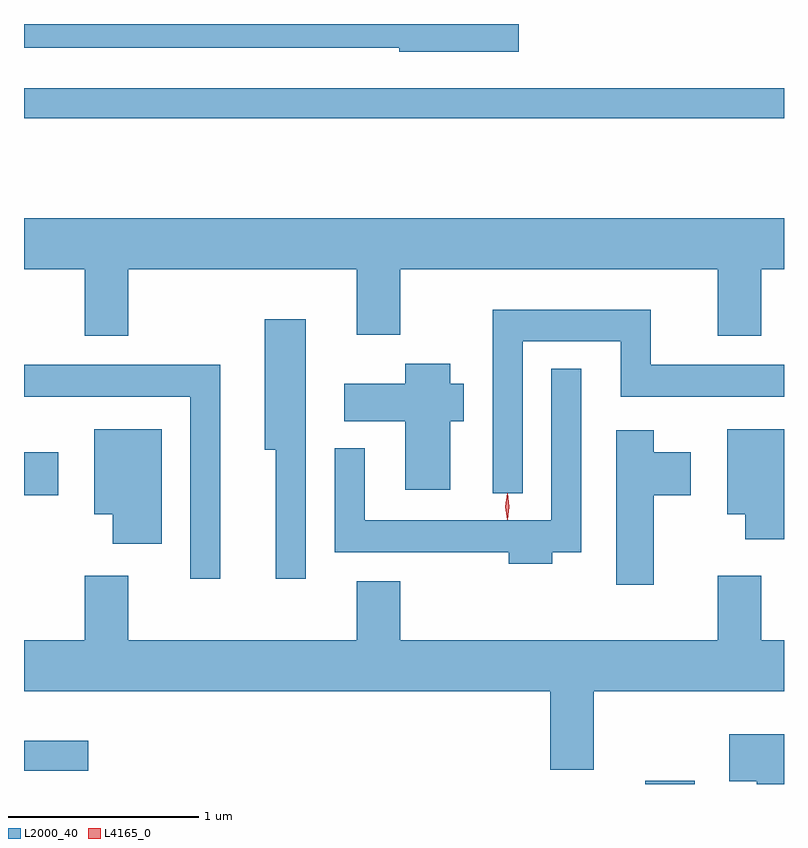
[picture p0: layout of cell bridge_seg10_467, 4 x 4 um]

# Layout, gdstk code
import gdstk
lib = gdstk.Library(unit=1e-6, precision=1e-09)
def R(c, l, rs):  # rectangles x0, y0, x1, y1
    for r in rs: c.add(gdstk.rectangle(r[:2], r[2:], *l))
def P(c, l, *ps):  # polygons
    for p in ps: c.add(gdstk.Polygon(p, *l))
L2000_40 = (2000, 40)
L4165_0 = (4165, 0)

bridge_seg10_467 = lib.new_cell('bridge_seg10_467')
R(bridge_seg10_467, L2000_40, [(872.571,2173.367,872.829,2173.384), (869.3,2173.436,869.638,2173.594), (869.3,2174.886,869.479,2175.114), (869.3,2176.871,873.3,2177.029)])
P(bridge_seg10_467, L2000_40, [(871.904,2177.367),(869.3,2177.367),(869.3,2177.241),(871.276,2177.241),(871.276,2177.221),(871.904,2177.221)],
  [(869.849,2176.076),(871.051,2176.076),(871.051,2175.731),(871.279,2175.731),(871.279,2176.076),(872.951,2176.076),(872.951,2175.726),(873.179,2175.726),(873.179,2176.076),(873.3,2176.076),(873.3,2176.344),(869.3,2176.344),(869.3,2176.076),(869.621,2176.076),(869.621,2175.726),(869.849,2175.726)],
  [(871.924,2175.696),(872.441,2175.696),(872.441,2175.406),(873.3,2175.406),(873.3,2175.574),(872.599,2175.574),(872.599,2175.864),(871.766,2175.864),(871.766,2174.898),(871.924,2174.898)],
  [(870.784,2175.814),(870.566,2175.814),(870.566,2175.126),(870.626,2175.126),(870.626,2174.448),(870.784,2174.448)],
  [(871.544,2175.276),(871.614,2175.276),(871.614,2175.474),(871.544,2175.474),(871.544,2175.579),(871.306,2175.579),(871.306,2175.474),(870.986,2175.474),(870.986,2175.276),(871.306,2175.276),(871.306,2174.916),(871.544,2174.916)],
  [(870.334,2175.574),(869.3,2175.574),(869.3,2175.406),(870.176,2175.406),(870.176,2174.448),(870.334,2174.448)],
  [(872.079,2174.586),(872.234,2174.586),(872.234,2175.553),(872.076,2175.553),(872.076,2174.754),(871.094,2174.754),(871.094,2175.133),(870.936,2175.133),(870.936,2174.586),(871.851,2174.586),(871.851,2174.526),(872.079,2174.526)],
  [(870.024,2175.234),(869.671,2175.234),(869.671,2174.786),(869.766,2174.786),(869.766,2174.631),(870.024,2174.631)],
  [(873.3,2175.234),(873.001,2175.234),(873.001,2174.786),(873.096,2174.786),(873.096,2174.656),(873.3,2174.656)],
  [(872.614,2174.886),(872.809,2174.886),(872.809,2175.114),(872.614,2175.114),(872.614,2175.229),(872.416,2175.229),(872.416,2174.416),(872.614,2174.416)],
  [(872.299,2173.856),(873.3,2173.856),(873.3,2174.124),(873.179,2174.124),(873.179,2174.464),(872.951,2174.464),(872.951,2174.124),(871.279,2174.124),(871.279,2174.434),(871.051,2174.434),(871.051,2174.124),(869.849,2174.124),(869.849,2174.464),(869.621,2174.464),(869.621,2174.124),(869.3,2174.124),(869.3,2173.856),(872.071,2173.856),(872.071,2173.441),(872.299,2173.441)],
  [(873.3,2173.629),(873.011,2173.629),(873.011,2173.381),(873.156,2173.381),(873.156,2173.367),(873.3,2173.367)])
P(bridge_seg10_467, L4165_0, [(871.844,2174.757),(871.844,2174.757),(871.834,2174.826),(871.844,2174.896),(871.844,2174.896),(871.845,2174.896),(871.854,2174.826),(871.845,2174.757)],
  [(871.845,2174.759),(871.844,2174.76),(871.835,2174.826),(871.844,2174.892),(871.845,2174.893),(871.845,2174.892),(871.855,2174.826),(871.845,2174.76)])

lib.write_gds('bridge_seg10_467.gds')
